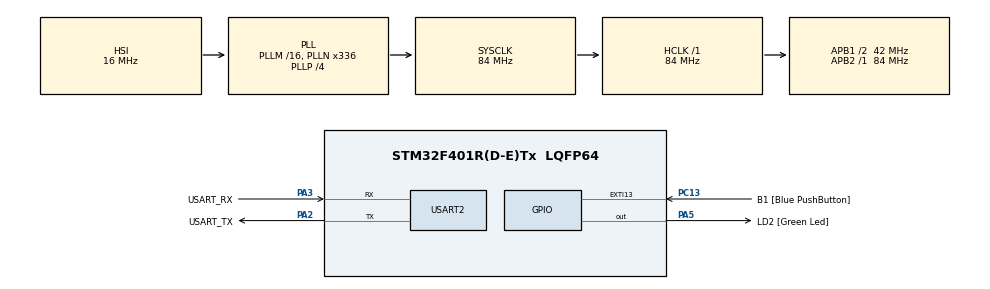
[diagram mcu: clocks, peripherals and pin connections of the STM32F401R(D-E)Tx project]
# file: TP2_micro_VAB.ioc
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Mcu.Family=STM32F4
Mcu.Name=STM32F401R(D-E)Tx
Mcu.Package=LQFP64
NVIC.EXTI15_10_IRQn=true\:0\:0\:false\:false\:true\:true\:true\:true
NVIC.PriorityGroup=NVIC_PRIORITYGROUP_0
NVIC.TIM2_IRQn=true\:0\:0\:false\:false\:true\:true\:true\:true
PA13.GPIO_Label=TMS
PA13.Mode=Serial_Wire
PA13.Signal=SYS_JTMS-SWDIO
PA14.GPIO_Label=TCK
PA14.Mode=Serial_Wire
PA14.Signal=SYS_JTCK-SWCLK
PA2.GPIO_Label=USART_TX
PA2.GPIO_Mode=GPIO_MODE_AF_PP
PA2.GPIO_PuPd=GPIO_NOPULL
PA2.GPIO_Speed=GPIO_SPEED_FREQ_LOW
PA2.Mode=Asynchronous
PA2.Signal=USART2_TX
PA3.GPIO_Label=USART_RX
PA3.GPIO_Mode=GPIO_MODE_AF_PP
PA3.GPIO_PuPd=GPIO_NOPULL
PA3.GPIO_Speed=GPIO_SPEED_FREQ_LOW
PA3.Mode=Asynchronous
PA3.Signal=USART2_RX
PA5.GPIO_Label=LD2 [Green Led]
PA5.GPIO_Mode=GPIO_MODE_OUTPUT_PP
PA5.GPIO_PuPd=GPIO_NOPULL
PA5.GPIO_Speed=GPIO_SPEED_FREQ_LOW
PA5.Signal=GPIO_Output
PB3.GPIO_Label=SWO
PB3.Signal=SYS_JTDO-SWO
PC13-ANTI_TAMP.GPIO_Label=B1 [Blue PushButton]
PC13-ANTI_TAMP.GPIO_ModeDefaultEXTI=GPIO_MODE_IT_FALLING
PC13-ANTI_TAMP.GPIO_PuPd=GPIO_NOPULL
PC13-ANTI_TAMP.Signal=GPXTI13
PC14-OSC32_IN.Mode=LSE-External-Oscillator
PC14-OSC32_IN.Signal=RCC_OSC32_IN
PC15-OSC32_OUT.Mode=LSE-External-Oscillator
PC15-OSC32_OUT.Signal=RCC_OSC32_OUT
PH0\ -\ OSC_IN.Mode=HSE-External-Clock-Source
PH0\ -\ OSC_IN.Signal=RCC_OSC_IN
PH1\ -\ OSC_OUT.Mode=HSE-External-Clock-Source
PH1\ -\ OSC_OUT.Signal=RCC_OSC_OUT
ProjectManager.HeapSize=0x200
ProjectManager.StackSize=0x400
ProjectManager.TargetToolchain=STM32CubeIDE
RCC.48MHZClocksFreq_Value=48000000
RCC.AHBFreq_Value=84000000
RCC.APB1CLKDivider=RCC_HCLK_DIV2
RCC.APB1Freq_Value=42000000
RCC.APB1TimFreq_Value=84000000
RCC.APB2Freq_Value=84000000
RCC.APB2TimFreq_Value=84000000
RCC.CortexFreq_Value=84000000
RCC.HCLKFreq_Value=84000000
RCC.HSE_VALUE=8000000
RCC.HSI_VALUE=16000000
RCC.PLLN=336
RCC.PLLP=RCC_PLLP_DIV4
RCC.PLLQ=7
RCC.SYSCLKFreq_VALUE=84000000
RCC.SYSCLKSource=RCC_SYSCLKSOURCE_PLLCLK
RCC.VCOOutputFreq_Value=336000000
TIM2.Period=100000-1
TIM2.Prescaler=84-1
USART2.VirtualMode=VM_ASYNC
VP_TIM2_VS_ClockSourceINT.Mode=Internal
board=NUCLEO-F401RE

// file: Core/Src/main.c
/* USER CODE BEGIN Header */
/**
  ******************************************************************************
  * @file           : main.c
  * @brief          : Main program body
  ******************************************************************************
  * @attention
  *
  * Copyright (c) 2023 STMicroelectronics.
  * All rights reserved.
  *
  * This software is licensed under terms that can be found in the LICENSE file
  * in the root directory of this software component.
  * If no LICENSE file comes with this software, it is provided AS-IS.
  *
  ******************************************************************************
  */
/* USER CODE END Header */
#include "main.h"
#include "tim.h"
#include "usart.h"
#include "gpio.h"

/* USER CODE BEGIN Includes */
#include <stdio.h>
#include <string.h>
/* USER CODE END Includes */

/* USER CODE BEGIN PD */
#define BUFFER_MAX_SIZE 80
/* USER CODE END PD */

/* USER CODE BEGIN PV */
int freq_counter = 1;
/* USER CODE END PV */

void SystemClock_Config(void);
/* USER CODE BEGIN PFP */

#ifdef __GNUC__
#define PUTCHAR_PROTOTYPE int __io_putchar(int ch)
#define GETCHAR_PROTOTYPE int __io_getchar(void)
#else
#define PUTCHAR_PROTOTYPE int fputc(int ch, FILE *f)
#define GETCHAR_PROTOTYPE int fgetc(FILE *f)
#endif

void HAL_TIM_PeriodElapsedCallback(TIM_HandleTypeDef *htim)
{
	static int counter=0;
	if (htim->Instance == TIM2)
	{
		if(counter > (freq_counter-1))
		{
			HAL_GPIO_TogglePin(LD2_GPIO_Port, LD2_Pin);
			counter = 0;
		}
		else
		{
			counter++;
		}
	}
}

void HAL_GPIO_EXTI_Callback(uint16_t GPIO_Pin)
{
	if (GPIO_Pin == B1_Pin && freq_counter == 1)
	{
		freq_counter=8;
	}
	else if(GPIO_Pin == B1_Pin && freq_counter == 8)
	{
		freq_counter=25;
	}
	else if(GPIO_Pin == B1_Pin && freq_counter == 25)
	{
		freq_counter=1;
	}
}

PUTCHAR_PROTOTYPE
{
  HAL_UART_Transmit(&huart2, (uint8_t *)&ch, 1, HAL_MAX_DELAY);
  return ch;
}

GETCHAR_PROTOTYPE
{
  uint8_t ch = 0;

  /* Clear the Overrun flag just before receiving the first character */
  __HAL_UART_CLEAR_OREFLAG(&huart2);

  /* Wait for reception of a character on the USART RX line and echo this
   * character on console */
  HAL_UART_Receive(&huart2, (uint8_t *)&ch, 1, HAL_MAX_DELAY);
  HAL_UART_Transmit(&huart2, (uint8_t *)&ch, 1, HAL_MAX_DELAY);
  return ch;
}

void prompt(char * buf){
	if(!strcmp( buf, "pin" ))
	{
		printf("\r\npin active");
	}
	else
	{
		printf("\r\n");
	}
}

/* USER CODE END PFP */

int main(void)
{

  /* MCU Configuration--------------------------------------------------------*/

  /* Reset of all peripherals, Initializes the Flash interface and the Systick. */
  HAL_Init();

  /* USER CODE BEGIN Init */
  setvbuf(stdin, NULL, _IONBF, 0);
  /* USER CODE END Init */

  /* Configure the system clock */
  SystemClock_Config();

  /* Initialize all configured peripherals */
  MX_GPIO_Init();
  MX_USART2_UART_Init();
  MX_TIM2_Init();
  /* USER CODE BEGIN 2 */
  HAL_TIM_Base_Start_IT(&htim2);
  uint8_t buf[BUFFER_MAX_SIZE];
  /* USER CODE END 2 */

  /* Infinite loop */
  /* USER CODE BEGIN WHILE */
  while (1)
  {
	  /*if(!HAL_GPIO_ReadPin(B1_GPIO_Port, B1_Pin))
	  {
		  HAL_GPIO_WritePin(LD2_GPIO_Port, LD2_Pin, 1);
	  }
	  else
	  {
		  HAL_GPIO_WritePin(LD2_GPIO_Port, LD2_Pin, 0);
	  }*/
	  /*if(HAL_UART_Receive(&huart2, msg, sizeof(uint8_t), HAL_MAX_DELAY)==HAL_OK)
	  {
		  HAL_UART_Transmit(&huart2,(uint8_t *)"\r\n",sizeof(uint8_t)*2,HAL_MAX_DELAY);
		  HAL_UART_Transmit(&huart2, msg, sizeof(uint8_t), HAL_MAX_DELAY);
	  }*/
	  printf( "\r\n[NUCLEO-F401RE]$ " );
	  scanf("%80s",buf);
	  prompt((char *) buf);

    /* USER CODE END WHILE */

  }
}

void SystemClock_Config(void)
{
  RCC_OscInitTypeDef RCC_OscInitStruct = {0};
  RCC_ClkInitTypeDef RCC_ClkInitStruct = {0};

  /** Configure the main internal regulator output voltage
  */
  __HAL_RCC_PWR_CLK_ENABLE();
  __HAL_PWR_VOLTAGESCALING_CONFIG(PWR_REGULATOR_VOLTAGE_SCALE2);

  /** Initializes the RCC Oscillators according to the specified parameters
  * in the RCC_OscInitTypeDef structure.
  */
  RCC_OscInitStruct.OscillatorType = RCC_OSCILLATORTYPE_HSI;
  RCC_OscInitStruct.HSIState = RCC_HSI_ON;
  RCC_OscInitStruct.HSICalibrationValue = RCC_HSICALIBRATION_DEFAULT;
  RCC_OscInitStruct.PLL.PLLState = RCC_PLL_ON;
  RCC_OscInitStruct.PLL.PLLSource = RCC_PLLSOURCE_HSI;
  RCC_OscInitStruct.PLL.PLLM = 16;
  RCC_OscInitStruct.PLL.PLLN = 336;
  RCC_OscInitStruct.PLL.PLLP = RCC_PLLP_DIV4;
  RCC_OscInitStruct.PLL.PLLQ = 7;
  if (HAL_RCC_OscConfig(&RCC_OscInitStruct) != HAL_OK)
  {
    Error_Handler();
  }

  /** Initializes the CPU, AHB and APB buses clocks
  */
  RCC_ClkInitStruct.ClockType = RCC_CLOCKTYPE_HCLK|RCC_CLOCKTYPE_SYSCLK
                              |RCC_CLOCKTYPE_PCLK1|RCC_CLOCKTYPE_PCLK2;
  RCC_ClkInitStruct.SYSCLKSource = RCC_SYSCLKSOURCE_PLLCLK;
  RCC_ClkInitStruct.AHBCLKDivider = RCC_SYSCLK_DIV1;
  RCC_ClkInitStruct.APB1CLKDivider = RCC_HCLK_DIV2;
  RCC_ClkInitStruct.APB2CLKDivider = RCC_HCLK_DIV1;

  if (HAL_RCC_ClockConfig(&RCC_ClkInitStruct, FLASH_LATENCY_2) != HAL_OK)
  {
    Error_Handler();
  }
}

void Error_Handler(void)
{
  __disable_irq();
  while (1)
  {
  }
}
